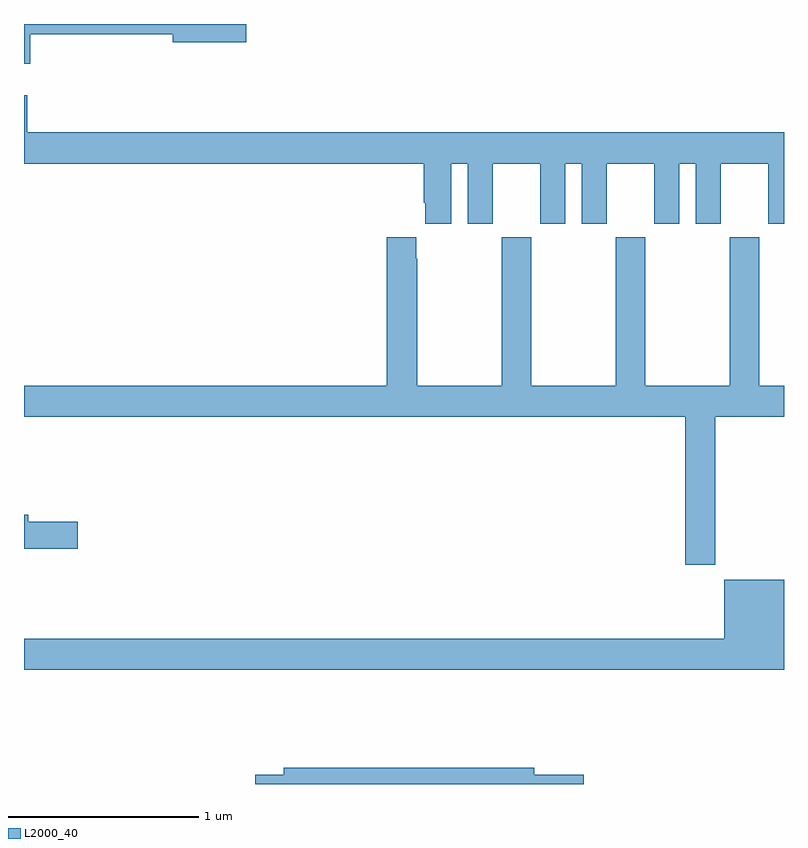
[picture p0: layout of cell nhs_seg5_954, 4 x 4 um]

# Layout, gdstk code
import gdstk
lib = gdstk.Library(unit=1e-6, precision=1e-09)
def P(c, l, *ps):  # polygons
    for p in ps: c.add(gdstk.Polygon(p, *l))
L2000_40 = (2000, 40)

nhs_seg5_954 = lib.new_cell('nhs_seg5_954')
P(nhs_seg5_954, L2000_40, [(171.034,886.744),(171.782,886.744),(171.782,886.702),(172.171,886.702),(172.171,886.799),(171,886.799),(171,886.59),(171.034,886.59)],
  [(173.248,886.064),(173.336,886.064),(173.336,885.747),(173.467,885.747),(173.467,886.064),(173.717,886.064),(173.717,885.747),(173.848,885.747),(173.848,886.064),(173.936,886.064),(173.936,885.747),(174.067,885.747),(174.067,886.064),(174.317,886.064),(174.317,885.747),(174.448,885.747),(174.448,886.064),(174.536,886.064),(174.536,885.747),(174.667,885.747),(174.667,886.064),(174.917,886.064),(174.917,885.747),(175,885.747),(175,886.228),(171.017,886.228),(171.017,886.423),(171,886.423),(171,886.064),(173.105,886.064),(173.105,885.859),(173.111,885.859),(173.111,885.747),(173.248,885.747)],
  [(174.639,884.732),(175,884.732),(175,884.896),(174.87,884.896),(174.87,885.676),(174.715,885.676),(174.715,884.896),(174.27,884.896),(174.27,885.676),(174.115,885.676),(174.115,884.896),(173.67,884.896),(173.67,885.676),(173.515,885.676),(173.515,884.896),(173.07,884.896),(173.07,885.563),(173.065,885.563),(173.065,885.676),(172.91,885.676),(172.91,884.896),(171,884.896),(171,884.732),(174.479,884.732),(174.479,883.953),(174.639,883.953)],
  [(171.283,884.18),(171.022,884.18),(171.022,884.216),(171,884.216),(171,884.038),(171.283,884.038)],
  [(175,883.873),(174.686,883.873),(174.686,883.564),(171,883.564),(171,883.4),(175,883.4)],
  [(173.947,882.848),(173.686,882.848),(173.686,882.884),(172.367,882.884),(172.367,882.848),(172.218,882.848),(172.218,882.799),(173.947,882.799)])

lib.write_gds('nhs_seg5_954.gds')
